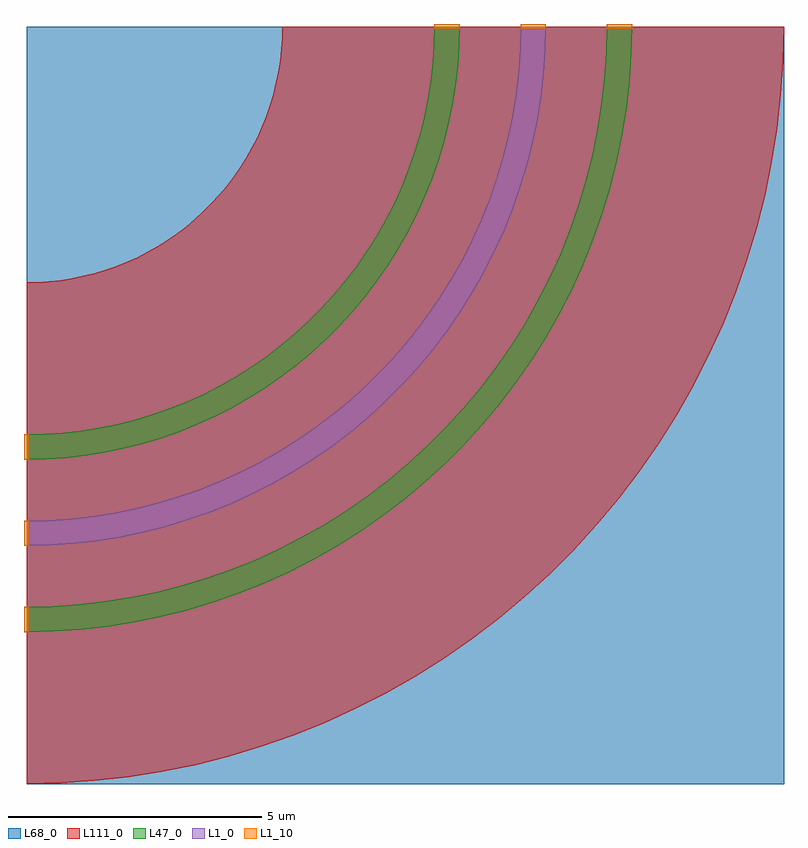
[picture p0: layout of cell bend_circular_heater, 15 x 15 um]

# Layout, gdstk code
import gdstk
lib = gdstk.Library(unit=1e-6, precision=1e-09)
def R(c, l, rs):  # rectangles x0, y0, x1, y1
    for r in rs: c.add(gdstk.rectangle(r[:2], r[2:], *l))
def A(c, l, x, y, w, h, nx, ny, dx, dy):  # array of equal rectangles
    R(c, l, [(x+i*dx, y+j*dy, x+i*dx+w, y+j*dy+h) for i in range(nx) for j in range(ny)])
def P(c, l, *ps):  # polygons
    for p in ps: c.add(gdstk.Polygon(p, *l))
L1_0 = (1, 0)
L1_10 = (1, 10)
L47_0 = (47, 0)
L68_0 = (68, 0)
L111_0 = (111, 0)

bend_circular_heater = lib.new_cell('bend_circular_heater')
P(bend_circular_heater, L1_0, [(9.75,10),(9.74,9.563),(9.711,9.126),(9.662,8.691),(9.593,8.259),(9.506,7.83),(9.399,7.406),(9.273,6.987),(9.128,6.574),(8.965,6.168),(8.784,5.77),(8.586,5.38),(8.37,4.999),(8.137,4.629),(7.888,4.269),(7.623,3.921),(7.342,3.585),(7.047,3.262),(6.738,2.953),(6.415,2.658),(6.079,2.377),(5.731,2.112),(5.371,1.863),(5.001,1.63),(4.62,1.414),(4.23,1.216),(3.832,1.035),(3.426,0.872),(3.013,0.727),(2.594,0.601),(2.17,0.494),(1.741,0.407),(1.309,0.338),(0.874,0.289),(0.437,0.26),(0,0.25),(0,-0.25),(0.46,-0.24),(0.919,-0.209),(1.376,-0.157),(1.83,-0.085),(2.281,0.007),(2.727,0.119),(3.167,0.252),(3.602,0.404),(4.029,0.575),(4.447,0.765),(4.857,0.974),(5.257,1.201),(5.647,1.446),(6.025,1.708),(6.391,1.986),(6.744,2.281),(7.083,2.591),(7.409,2.917),(7.719,3.256),(8.014,3.609),(8.292,3.975),(8.554,4.353),(8.799,4.743),(9.026,5.143),(9.235,5.553),(9.425,5.971),(9.596,6.398),(9.748,6.833),(9.881,7.273),(9.993,7.719),(10.085,8.17),(10.157,8.624),(10.209,9.081),(10.24,9.54),(10.25,10)])
A(bend_circular_heater, L1_10, -0.05, -1.95, 0.1, 0.5, 1, 3, 0, 1.7)
A(bend_circular_heater, L1_10, 8.05, 9.95, 0.5, 0.1, 3, 1, 1.7, 0)
P(bend_circular_heater, L47_0, [(11.45,10),(11.438,9.486),(11.404,8.974),(11.346,8.463),(11.266,7.956),(11.163,7.452),(11.037,6.954),(10.89,6.462),(10.72,5.977),(10.529,5.5),(10.316,5.032),(10.083,4.574),(9.829,4.127),(9.556,3.692),(9.263,3.27),(8.952,2.861),(8.623,2.467),(8.276,2.087),(7.913,1.724),(7.533,1.377),(7.139,1.048),(6.73,0.737),(6.308,0.444),(5.873,0.171),(5.426,-0.083),(4.968,-0.316),(4.5,-0.529),(4.023,-0.72),(3.538,-0.89),(3.046,-1.037),(2.548,-1.163),(2.044,-1.266),(1.537,-1.346),(1.026,-1.404),(0.514,-1.438),(0,-1.45),(0,-1.95),(0.536,-1.938),(1.071,-1.902),(1.604,-1.842),(2.134,-1.758),(2.659,-1.65),(3.179,-1.519),(3.693,-1.365),(4.199,-1.188),(4.697,-0.988),(5.185,-0.767),(5.663,-0.523),(6.129,-0.258),(6.583,0.027),(7.024,0.332),(7.451,0.657),(7.862,1.001),(8.258,1.363),(8.637,1.742),(8.999,2.138),(9.343,2.549),(9.668,2.976),(9.973,3.417),(10.258,3.871),(10.523,4.337),(10.767,4.815),(10.988,5.303),(11.188,5.801),(11.365,6.307),(11.519,6.821),(11.65,7.341),(11.758,7.866),(11.842,8.396),(11.902,8.929),(11.938,9.464),(11.95,10)],
  [(8.05,10),(8.042,9.639),(8.018,9.278),(7.977,8.919),(7.921,8.563),(7.848,8.209),(7.76,7.858),(7.656,7.512),(7.537,7.171),(7.402,6.836),(7.253,6.507),(7.089,6.185),(6.911,5.871),(6.718,5.565),(6.513,5.268),(6.294,4.981),(6.062,4.704),(5.818,4.437),(5.563,4.182),(5.296,3.938),(5.019,3.706),(4.732,3.487),(4.435,3.282),(4.129,3.089),(3.815,2.911),(3.493,2.747),(3.164,2.598),(2.829,2.463),(2.488,2.344),(2.142,2.24),(1.791,2.152),(1.437,2.079),(1.081,2.023),(0.722,1.982),(0.361,1.958),(0,1.95),(0,1.45),(0.384,1.459),(0.766,1.484),(1.148,1.527),(1.527,1.587),(1.903,1.664),(2.275,1.758),(2.642,1.868),(3.004,1.995),(3.36,2.138),(3.71,2.297),(4.052,2.471),(4.385,2.66),(4.71,2.864),(5.026,3.083),(5.331,3.315),(5.625,3.561),(5.909,3.82),(6.18,4.091),(6.439,4.375),(6.685,4.669),(6.917,4.974),(7.136,5.29),(7.34,5.615),(7.529,5.948),(7.703,6.29),(7.862,6.64),(8.005,6.996),(8.132,7.358),(8.242,7.725),(8.336,8.097),(8.413,8.473),(8.473,8.852),(8.516,9.234),(8.541,9.616),(8.55,10)])
R(bend_circular_heater, L68_0, [(0,-4.95,14.95,10), (0,-3.25,13.25,10), (0,-1.55,11.55,10)])
P(bend_circular_heater, L111_0, [(6.75,10),(6.743,9.697),(6.723,9.395),(6.689,9.094),(6.642,8.795),(6.581,8.498),(6.507,8.204),(6.42,7.914),(6.32,7.628),(6.207,7.347),(6.082,7.071),(5.944,6.801),(5.795,6.538),(5.633,6.281),(5.461,6.032),(5.277,5.791),(5.083,5.559),(4.879,5.335),(4.665,5.121),(4.441,4.917),(4.209,4.723),(3.968,4.539),(3.719,4.367),(3.462,4.205),(3.199,4.056),(2.929,3.918),(2.653,3.793),(2.372,3.68),(2.086,3.58),(1.796,3.493),(1.502,3.419),(1.205,3.358),(0.906,3.311),(0.605,3.277),(0.303,3.257),(0,3.25),(0,-3.25),(0.594,-3.237),(1.188,-3.197),(1.779,-3.13),(2.366,-3.037),(2.948,-2.918),(3.525,-2.773),(4.094,-2.601),(4.656,-2.405),(5.208,-2.184),(5.749,-1.938),(6.279,-1.668),(6.796,-1.374),(7.299,-1.058),(7.788,-0.719),(8.261,-0.359),(8.718,0.022),(9.157,0.423),(9.577,0.843),(9.978,1.282),(10.359,1.739),(10.719,2.212),(11.058,2.701),(11.374,3.204),(11.668,3.721),(11.938,4.251),(12.184,4.792),(12.405,5.344),(12.601,5.906),(12.773,6.475),(12.918,7.052),(13.037,7.634),(13.13,8.221),(13.197,8.812),(13.237,9.406),(13.25,10)],
  [(8.45,10),(8.441,9.621),(8.416,9.243),(8.374,8.866),(8.314,8.491),(8.238,8.12),(8.145,7.752),(8.036,7.389),(7.911,7.031),(7.77,6.679),(7.613,6.334),(7.441,5.996),(7.254,5.666),(7.052,5.345),(6.836,5.033),(6.606,4.732),(6.363,4.44),(6.108,4.161),(5.839,3.892),(5.56,3.637),(5.268,3.394),(4.967,3.164),(4.655,2.948),(4.334,2.746),(4.004,2.559),(3.666,2.387),(3.321,2.23),(2.969,2.089),(2.611,1.964),(2.248,1.855),(1.88,1.762),(1.509,1.686),(1.134,1.626),(0.757,1.584),(0.379,1.559),(0,1.55),(0,-4.95),(0.671,-4.935),(1.34,-4.89),(2.007,-4.815),(2.669,-4.71),(3.327,-4.575),(3.977,-4.411),(4.62,-4.218),(5.253,-3.997),(5.876,-3.747),(6.487,-3.469),(7.084,-3.165),(7.668,-2.834),(8.236,-2.477),(8.787,-2.095),(9.321,-1.688),(9.836,-1.258),(10.331,-0.806),(10.806,-0.331),(11.258,0.164),(11.688,0.679),(12.095,1.213),(12.477,1.764),(12.834,2.332),(13.165,2.916),(13.469,3.513),(13.747,4.124),(13.997,4.747),(14.218,5.38),(14.411,6.023),(14.575,6.673),(14.71,7.331),(14.815,7.993),(14.89,8.66),(14.935,9.329),(14.95,10)],
  [(5.05,10),(5.045,9.773),(5.03,9.547),(5.004,9.322),(4.969,9.098),(4.923,8.876),(4.868,8.657),(4.803,8.439),(4.728,8.226),(4.644,8.015),(4.55,7.809),(4.447,7.607),(4.335,7.41),(4.215,7.218),(4.086,7.032),(3.948,6.851),(3.803,6.677),(3.65,6.51),(3.49,6.35),(3.323,6.197),(3.149,6.052),(2.968,5.914),(2.782,5.785),(2.59,5.665),(2.393,5.553),(2.191,5.45),(1.985,5.356),(1.774,5.272),(1.561,5.197),(1.343,5.132),(1.124,5.077),(0.902,5.031),(0.678,4.996),(0.453,4.97),(0.227,4.955),(0,4.95),(0,-1.55),(0.518,-1.538),(1.035,-1.504),(1.55,-1.445),(2.062,-1.364),(2.57,-1.26),(3.073,-1.134),(3.569,-0.985),(4.058,-0.814),(4.539,-0.621),(5.011,-0.406),(5.473,-0.171),(5.924,0.085),(6.363,0.361),(6.789,0.656),(7.201,0.97),(7.599,1.302),(7.982,1.652),(8.348,2.018),(8.698,2.401),(9.03,2.799),(9.344,3.211),(9.639,3.637),(9.915,4.076),(10.171,4.527),(10.406,4.989),(10.621,5.461),(10.814,5.942),(10.985,6.431),(11.134,6.927),(11.26,7.43),(11.364,7.938),(11.445,8.45),(11.504,8.965),(11.538,9.482),(11.55,10)])

lib.write_gds('bend_circular_heater.gds')
